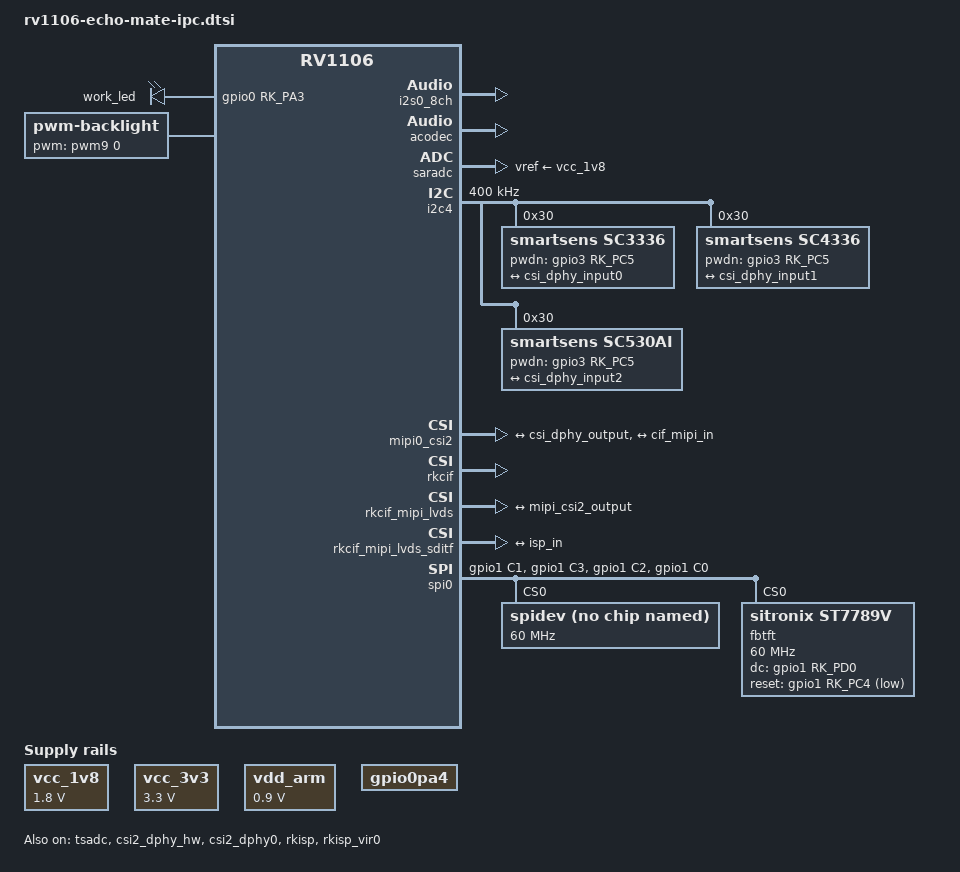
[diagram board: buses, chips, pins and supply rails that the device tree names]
// SPDX-License-Identifier: (GPL-2.0+ OR MIT)
/*
 * Copyright (c) 2022 Rockchip Electronics Co., Ltd.
 */
#include "rv1106-amp.dtsi"

/ {
	chosen {
		bootargs = "earlycon=uart8250,mmio32,0xff4c0000 console=ttyFIQ0 root=/dev/mmcblk1p7 rootwait snd_soc_core.prealloc_buffer_size_kbytes=16 coherent_pool=0";
	};

	acodec_sound: acodec-sound {
		compatible = "simple-audio-card";
		simple-audio-card,name = "rv-acodec";
		simple-audio-card,format = "i2s";
		simple-audio-card,mclk-fs = <256>;
		simple-audio-card,cpu {
			sound-dai = <&i2s0_8ch>;
		};
		simple-audio-card,codec {
			sound-dai = <&acodec>;
		};
	};

	vcc_1v8: vcc-1v8 {
		compatible = "regulator-fixed";
		regulator-name = "vcc_1v8";
		regulator-always-on;
		regulator-boot-on;
		regulator-min-microvolt = <1800000>;
		regulator-max-microvolt = <1800000>;
	};

	vcc_3v3: vcc-3v3 {
		compatible = "regulator-fixed";
		regulator-name = "vcc_3v3";
		regulator-always-on;
		regulator-boot-on;
		regulator-min-microvolt = <3300000>;
		regulator-max-microvolt = <3300000>;
	};

	vdd_arm: vdd-arm {
		compatible = "regulator-fixed";
		regulator-name = "vdd_arm";
		regulator-min-microvolt = <900000>;
		regulator-max-microvolt = <900000>;
		regulator-always-on;

		regulator-boot-on;
	};
	leds: leds {
		compatible = "gpio-leds";
		work_led: work{
			gpios = <&gpio0 RK_PA3 GPIO_ACTIVE_HIGH>;
			linux,default-trigger = "activity";
			default-state = "on";
		};	
	};

	backlight: backlight {
		status = "okay";
		compatible = "pwm-backlight";
		pwms = <&pwm9 0 300000 0>;
		brightness-levels = <0 3 5 8 10 13 16 18 21 24 26 29 32 34 37 40 42 45 48 50
							52 54 56 58 61 64 66 69 72 74 77 80 82 85 88 90 93 96 98
							101 104 106 109 112 114 117 120 122 125 128 130 133 136
							138 141 144 146 149 152 154 157 160 162 165 168 170 173
							176 178 180 182 184 186 188 190 192 194 197 200 202 205 
							208 210 213 216 218 221 224 226 229 232 234 237 240 242 
							245 248 250 253 255>;
    	default-brightness-level = <50>; 
	};

	gpio0pa4:gpio0pa4 {
        compatible = "regulator-fixed";
        pinctrl-names = "default";
        pinctrl-0 = <&gpio0_pa4>;
        regulator-name = "gpio0_pa4";
        regulator-always-on;
    };

};

/***************************** AUDIO ********************************/
&i2s0_8ch {
	#sound-dai-cells = <0>;
	status = "okay";
};

&acodec {
	#sound-dai-cells = <0>;
	pa-ctl-gpios = <&gpio0 RK_PA2 GPIO_ACTIVE_LOW>;
	status = "okay";
};
/***************************** CPU ********************************/
&cpu0 {
	cpu-supply = <&vdd_arm>;
};

/***************************** ADC ********************************/
&saradc {
	status = "okay";
	vref-supply = <&vcc_1v8>;
};

&tsadc {
	status = "okay";
};

/***************************** CSI ********************************/
&csi2_dphy_hw {
	status = "okay";
};

&csi2_dphy0 {
	status = "okay";

	ports {
		#address-cells = <1>;
		#size-cells = <0>;

		port@0 {
			reg = <0>;
			#address-cells = <1>;
			#size-cells = <0>;

			csi_dphy_input0: endpoint@0 {
				reg = <0>;
				remote-endpoint = <&sc3336_out>;
				data-lanes = <1 2>;
			};

			csi_dphy_input1: endpoint@1 {
				reg = <1>;
				remote-endpoint = <&sc4336_out>;
				data-lanes = <1 2>;
			};

			csi_dphy_input2: endpoint@2 {
				reg = <2>;
				remote-endpoint = <&sc530ai_out>;
				data-lanes = <1 2>;
			};
		};

		port@1 {
			reg = <1>;
			#address-cells = <1>;
			#size-cells = <0>;

			csi_dphy_output: endpoint@0 {
				reg = <0>;
				remote-endpoint = <&mipi_csi2_input>;
			};
		};
	};
};

&i2c4 {
	status = "okay";
	clock-frequency = <400000>;
	pinctrl-names = "default";
	pinctrl-0 = <&i2c4m2_xfer>;

	sc3336: sc3336@30 {
		compatible = "smartsens,sc3336";
		status = "okay";
		reg = <0x30>;
		clocks = <&cru MCLK_REF_MIPI0>;
		clock-names = "xvclk";
		pwdn-gpios = <&gpio3 RK_PC5 GPIO_ACTIVE_HIGH>;
		pinctrl-names = "default";
		pinctrl-0 = <&mipi_refclk_out0>;
		rockchip,camera-module-index = <0>;
		rockchip,camera-module-facing = "back";
		rockchip,camera-module-name = "CMK-OT2119-PC1";
		rockchip,camera-module-lens-name = "30IRC-F16";
		port {
			sc3336_out: endpoint {
				remote-endpoint = <&csi_dphy_input0>;
				data-lanes = <1 2>;
			};
		};
	};

	sc4336: sc4336@30 {
		compatible = "smartsens,sc4336";
		status = "okay";
		reg = <0x30>;
		clocks = <&cru MCLK_REF_MIPI0>;
		clock-names = "xvclk";
		pwdn-gpios = <&gpio3 RK_PC5 GPIO_ACTIVE_HIGH>;
		pinctrl-names = "default";
		pinctrl-0 = <&mipi_refclk_out0>;
		rockchip,camera-module-index = <0>;
		rockchip,camera-module-facing = "back";
		rockchip,camera-module-name = "OT01";
		rockchip,camera-module-lens-name = "40IRC_F16";
		port {
			sc4336_out: endpoint {
				remote-endpoint = <&csi_dphy_input1>;
				data-lanes = <1 2>;
			};
		};
	};

	sc530ai: sc530ai@30 {
		compatible = "smartsens,sc530ai";
		status = "okay";
		reg = <0x30>;
		clocks = <&cru MCLK_REF_MIPI0>;
		clock-names = "xvclk";
		pwdn-gpios = <&gpio3 RK_PC5 GPIO_ACTIVE_HIGH>;
		pinctrl-names = "default";
		pinctrl-0 = <&mipi_refclk_out0>;
		rockchip,camera-module-index = <0>;
		rockchip,camera-module-facing = "back";
		rockchip,camera-module-name = "CMK-OT2115-PC1";
		rockchip,camera-module-lens-name = "30IRC-F16";
		port {
			sc530ai_out: endpoint {
				remote-endpoint = <&csi_dphy_input2>;
				data-lanes = <1 2>;
			};
		};
	};
};

&mipi0_csi2 {
	status = "okay";

	ports {
		#address-cells = <1>;
		#size-cells = <0>;

		port@0 {
			reg = <0>;
			#address-cells = <1>;
			#size-cells = <0>;

			mipi_csi2_input: endpoint@1 {
				reg = <1>;
				remote-endpoint = <&csi_dphy_output>;
			};
		};

		port@1 {
			reg = <1>;
			#address-cells = <1>;
			#size-cells = <0>;

			mipi_csi2_output: endpoint@0 {
				reg = <0>;
				remote-endpoint = <&cif_mipi_in>;
			};
		};
	};
};

&rkcif {
	status = "okay";
};

&rkcif_mipi_lvds {
	status = "okay";

	pinctrl-names = "default";
	pinctrl-0 = <&mipi_pins>;
	port {
		/* MIPI CSI-2 endpoint */
		cif_mipi_in: endpoint {
			remote-endpoint = <&mipi_csi2_output>;
		};
	};
};

&rkcif_mipi_lvds_sditf {
	status = "okay";

	port {
		/* MIPI CSI-2 endpoint */
		mipi_lvds_sditf: endpoint {
			remote-endpoint = <&isp_in>;
		};
	};
};

&rkisp {
	status = "okay";
};

&rkisp_vir0 {
	status = "okay";

	port@0 {
		isp_in: endpoint {
			remote-endpoint = <&mipi_lvds_sditf>;
		};
	};
};


/*****************************PINCTRL********************************/
// SPI
&spi0 {
	pinctrl-0 = <&spi0m0_clk &spi0m0_miso &spi0m0_mosi &spi0m0_cs0>;
	#address-cells = <1>;
	#size-cells = <0>;
	spidev@0 {
    	compatible = "rockchip,spidev";
		spi-max-frequency = <60000000>;
		reg = <0>;
	};

	fbtft@0{
		compatible = "sitronix,st7789v";
		reg = <0>;
		spi-max-frequency = <60000000>;
		fps = <60>;
		buswidth = <8>;
		debug = <0x7>;
		rotate = <270>;
		//bgr = <1>;	//RGB->BGR
		//led-gpios = <&gpio1 RK_PC5 GPIO_ACTIVE_HIGH>;		//BL
		dc-gpios = <&gpio1 RK_PD0 GPIO_ACTIVE_HIGH>;		//DC
		reset-gpios = <&gpio1 RK_PC4 GPIO_ACTIVE_LOW>;		//RES
	};
};
// I2C
&i2c0 {
	pinctrl-0 = <&i2c0m2_xfer>;
};

&i2c1 {
	pinctrl-0 = <&i2c1m1_xfer>;
};

&i2c3 {
	pinctrl-0 = <&i2c3m1_xfer &i2c3m0_xfer>;
};

// &i2c4 {
//  pinctrl-0 = <&i2c4m0_xfer>;
// };

// UART
&uart0 {
	pinctrl-0 = <&uart0m0_xfer &uart0m1_xfer>;
};
&uart1 {
	pinctrl-0 = <&uart1m1_xfer>;
};
&uart3 {
	pinctrl-0 = <&uart3m1_xfer>;
};
&uart4 {
	pinctrl-0 = <&uart4m1_xfer>;
};
&uart5 {
	pinctrl-0 = <&uart5m0_xfer>;
};

// PWM
&pwm0 {
	pinctrl-0 = <&pwm0m1_pins>;
};
&pwm2 {
	pinctrl-0 = <&pwm2m2_pins>;
};
&pwm3 {
	pinctrl-0 = <&pwm3m2_pins>;
};
&pwm4 {
	pinctrl-0 = <&pwm4m2_pins>;
};
&pwm5 {
	pinctrl-0 = <&pwm5m2_pins>;
};
&pwm6 {
	pinctrl-0 = <&pwm6m1_pins &pwm6m2_pins>;
};
&pwm8 {
	pinctrl-0 = <&pwm8m1_pins>;
};
&pwm9 {
	pinctrl-0 = <&pwm9m1_pins>;
};
&pwm10 {
	pinctrl-0 = <&pwm10m2_pins>;
};
&pwm11 {
	pinctrl-0 = <&pwm11m1_pins>;
};

&pinctrl {
	spi0 {
		spi0m0_clk: spi0m0-clk {
			rockchip,pins = <1 RK_PC1 4 &pcfg_pull_none>;
		};
		spi0m0_mosi: spi0m0-mosi {
			rockchip,pins = <1 RK_PC2 6 &pcfg_pull_none>;
		};
		spi0m0_miso: spi0m0-miso {
			rockchip,pins = <1 RK_PC3 6 &pcfg_pull_none>;
		};
		spi0m0_cs0: spi0m0-cs0 {
			rockchip,pins = <1 RK_PC0 4 &pcfg_pull_none>;
		};
	};

	// led_b
    gpio0-pa4 {
        gpio0_pa4:gpio0-pa4 {
            rockchip,pins = <0 RK_PA4 RK_FUNC_GPIO &pcfg_pull_none>;
    	};
	};

	gpio1-pa0 {
        gpio1_pa0:gpio1-pa0 {
            rockchip,pins = <1 RK_PA0 RK_FUNC_GPIO &pcfg_pull_none>;
    	};
	};
	gpio1-pa1 {
        gpio1_pa1:gpio1-pa1 {
            rockchip,pins = <1 RK_PA1 RK_FUNC_GPIO &pcfg_pull_none>;
    	};
	};
	gpio1-pa2 {
        gpio1_pa2:gpio1-pa2 {
            rockchip,pins = <1 RK_PA2 RK_FUNC_GPIO &pcfg_pull_none>;
    	};
	};
	gpio1-pa3 {
        gpio1_pa3:gpio1-pa3 {
            rockchip,pins = <1 RK_PA3 RK_FUNC_GPIO &pcfg_pull_none>;
    	};
	};


};


